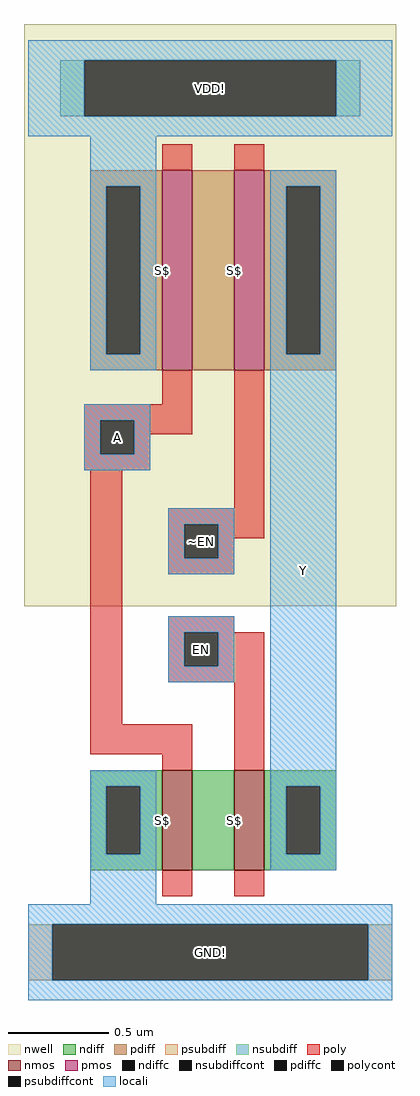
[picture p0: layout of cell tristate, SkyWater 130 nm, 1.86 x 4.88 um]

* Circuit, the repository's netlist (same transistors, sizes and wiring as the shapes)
* NGSPICE file created from tristate.ext - technology: sky130A

*.subckt tristate VDD GND A Y EN ~EN
X0 a_174_130# A GND GND sky130_fd_pr__nfet_01v8 ad=0.0525 pd=0.71 as=0.18 ps=1.72 w=0.5 l=0.15
X1 a_174_630# A VDD VDD sky130_fd_pr__pfet_01v8 ad=0.195 pd=1.39 as=0.36 ps=2.72 w=1 l=0.15
X2 Y ~EN a_174_630# VDD sky130_fd_pr__pfet_01v8 ad=0.36 pd=2.72 as=0.195 ps=1.39 w=1 l=0.15
X3 Y EN a_174_130# GND sky130_fd_pr__nfet_01v8 ad=0.18 pd=1.72 as=0.0525 ps=0.71 w=0.5 l=0.15
*.ends

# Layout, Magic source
magic
tech sky130A
<< nwell >>
rect 3 197 189 488
<< nmos >>
rect 72 65 87 115
rect 108 65 123 115
<< pmos >>
rect 72 315 87 415
rect 108 315 123 415
<< ndiff >>
rect 36 107 72 115
rect 36 73 44 107
rect 61 73 72 107
rect 36 65 72 73
rect 87 65 108 115
rect 123 107 159 115
rect 123 73 134 107
rect 151 73 159 107
rect 123 65 159 73
<< pdiff >>
rect 36 407 72 415
rect 36 323 44 407
rect 61 323 72 407
rect 36 315 72 323
rect 87 315 108 415
rect 123 407 159 415
rect 123 323 134 407
rect 151 323 159 407
rect 123 315 159 323
<< ndiffc >>
rect 44 73 61 107
rect 134 73 151 107
<< pdiffc >>
rect 44 323 61 407
rect 134 323 151 407
<< psubdiff >>
rect 5 10 17 38
rect 175 10 187 38
<< nsubdiff >>
rect 21 442 33 470
rect 159 442 171 470
<< psubdiffcont >>
rect 17 10 175 38
<< nsubdiffcont >>
rect 33 442 159 470
<< poly >>
rect 72 415 87 428
rect 108 415 123 428
rect 72 298 87 315
rect 33 290 87 298
rect 33 273 41 290
rect 58 283 87 290
rect 58 273 66 283
rect 33 265 66 273
rect 36 138 52 265
rect 108 246 123 315
rect 75 238 123 246
rect 75 221 83 238
rect 100 231 123 238
rect 100 221 108 231
rect 75 213 108 221
rect 75 184 108 192
rect 75 167 83 184
rect 100 167 123 184
rect 75 159 123 167
rect 36 123 87 138
rect 72 115 87 123
rect 108 115 123 159
rect 72 52 87 65
rect 108 52 123 65
<< polycont >>
rect 41 273 58 290
rect 83 221 100 238
rect 83 167 100 184
<< locali >>
rect 5 470 187 480
rect 5 442 33 470
rect 159 442 187 470
rect 5 432 187 442
rect 36 407 69 432
rect 36 323 44 407
rect 61 323 69 407
rect 36 315 69 323
rect 126 407 159 415
rect 126 323 134 407
rect 151 323 159 407
rect 33 290 66 298
rect 33 273 41 290
rect 58 273 66 290
rect 33 265 66 273
rect 75 238 108 246
rect 75 221 83 238
rect 100 221 108 238
rect 75 213 108 221
rect 75 184 108 192
rect 75 167 83 184
rect 100 167 108 184
rect 75 159 108 167
rect 36 107 69 115
rect 36 73 44 107
rect 61 73 69 107
rect 36 48 69 73
rect 126 107 159 323
rect 126 73 134 107
rect 151 73 159 107
rect 126 65 159 73
rect 5 38 187 48
rect 5 10 17 38
rect 175 10 187 38
rect 5 0 187 10
<< labels >>
flabel ndiff 72 90 72 90 1 FreeSerif 8 0 0 0 S$
flabel pdiff 72 365 72 365 1 FreeSerif 8 0 0 0 S$
flabel pdiff 108 365 108 365 1 FreeSerif 8 0 0 0 S$
flabel ndiff 108 90 108 90 1 FreeSerif 8 0 0 0 S$
flabel locali 126 115 159 315 0 FreeSerif 80 0 0 0 Y
port 5 nsew
flabel locali 75 159 108 192 0 FreeSerif 80 0 0 0 EN
port 8 nsew
flabel locali 75 213 108 246 0 FreeSerif 80 0 0 0 ~EN
port 9 nsew
flabel locali 33 265 66 298 0 FreeSerif 80 0 0 0 A
port 4 nsew
flabel locali 5 432 187 480 0 FreeSerif 80 0 0 0 VDD!
port 2 nsew
flabel locali 5 0 187 48 0 FreeSerif 80 0 0 0 GND!
port 3 nsew
<< end >>
